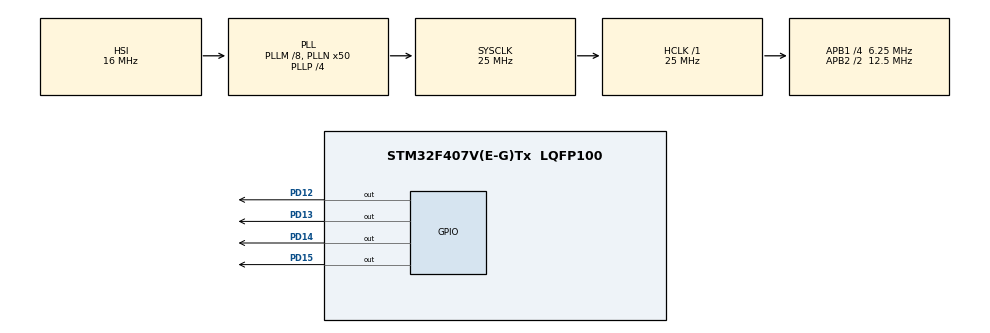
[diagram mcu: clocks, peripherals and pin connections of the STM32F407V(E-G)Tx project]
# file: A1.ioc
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FREERTOS.INCLUDE_vTaskDelayUntil=1
FREERTOS.Tasks01=defaultTask,-3,128,StartDefaultTask,Default,NULL,Dynamic,NULL,NULL
FREERTOS.configUSE_NEWLIB_REENTRANT=1
Mcu.Family=STM32F4
Mcu.Name=STM32F407V(E-G)Tx
Mcu.Package=LQFP100
NVIC.PriorityGroup=NVIC_PRIORITYGROUP_4
NVIC.TIM1_UP_TIM10_IRQn=true\:15\:0\:false\:false\:true\:false\:false\:true\:true
NVIC.TimeBase=TIM1_UP_TIM10_IRQn
NVIC.TimeBaseIP=TIM1
PD12.Signal=GPIO_Output
PD13.Signal=GPIO_Output
PD14.Signal=GPIO_Output
PD15.Signal=GPIO_Output
ProjectManager.HeapSize=0x200
ProjectManager.StackSize=0x400
ProjectManager.TargetToolchain=STM32CubeIDE
RCC.48MHZClocksFreq_Value=14285714.285714285
RCC.AHBFreq_Value=25000000
RCC.APB1CLKDivider=RCC_HCLK_DIV4
RCC.APB1Freq_Value=6250000
RCC.APB1TimFreq_Value=12500000
RCC.APB2CLKDivider=RCC_HCLK_DIV2
RCC.APB2Freq_Value=12500000
RCC.APB2TimFreq_Value=25000000
RCC.CortexFreq_Value=25000000
RCC.HCLKFreq_Value=25000000
RCC.HSE_VALUE=8000000
RCC.HSI_VALUE=16000000
RCC.LSE_VALUE=32768
RCC.PLLM=8
RCC.PLLN=50
RCC.PLLP=RCC_PLLP_DIV4
RCC.PLLQ=7
RCC.SYSCLKFreq_VALUE=25000000
RCC.SYSCLKSource=RCC_SYSCLKSOURCE_PLLCLK
RCC.VCOOutputFreq_Value=100000000
VP_FREERTOS_VS_CMSIS_V1.Mode=CMSIS_V1
VP_SYS_VS_tim1.Mode=TIM1
board=STM32F407G-DISC1

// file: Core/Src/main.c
/* USER CODE BEGIN Header */
/**
  ******************************************************************************
  * @file           : main.c
  * @brief          : Main program body
  ******************************************************************************
  * @attention
  *
  * Copyright (c) 2024 STMicroelectronics.
  * All rights reserved.
  *
  * This software is licensed under terms that can be found in the LICENSE file
  * in the root directory of this software component.
  * If no LICENSE file comes with this software, it is provided AS-IS.
  *
  ******************************************************************************
  */
/* USER CODE END Header */
#include "main.h"
#include "cmsis_os.h"

osThreadId defaultTaskHandle;

void SystemClock_Config(void);
static void MX_GPIO_Init(void);
void StartDefaultTask(void const * argument);

/* USER CODE BEGIN 0 */
void vLedTask1(void *pvParam)
{
	while(1)
	{
		HAL_GPIO_TogglePin(GPIOD, GPIO_PIN_12);
		vTaskDelay(1000 / portTICK_RATE_MS);
	}
	vTaskDelete(NULL);
}

void vLedTask2(void *pvParam)
{
	while(1)
	{
		HAL_GPIO_TogglePin(GPIOD, GPIO_PIN_13);
		vTaskDelay(2000 / portTICK_RATE_MS);
	}
	vTaskDelete(NULL);
}

void vLedTask3(void *pvParam)
{
	while(1)
	{
		HAL_GPIO_TogglePin(GPIOD, GPIO_PIN_14);
		vTaskDelay(3000 / portTICK_RATE_MS);
	}
	vTaskDelete(NULL);
}

void vLedTask4(void *pvParam)
{
	while(1)
	{
		HAL_GPIO_TogglePin(GPIOD, GPIO_PIN_15);
		vTaskDelay(4000 / portTICK_RATE_MS);
	}
	vTaskDelete(NULL);
}
/* USER CODE END 0 */

int main(void)
{

  /* MCU Configuration--------------------------------------------------------*/

  /* Reset of all peripherals, Initializes the Flash interface and the Systick. */
  HAL_Init();

  /* Configure the system clock */
  SystemClock_Config();

  /* Initialize all configured peripherals */
  MX_GPIO_Init();

  /* Create the thread(s) */
  /* definition and creation of defaultTask */
  osThreadDef(defaultTask, StartDefaultTask, osPriorityIdle, 0, 128);
  defaultTaskHandle = osThreadCreate(osThread(defaultTask), NULL);

  /* USER CODE BEGIN RTOS_THREADS */
  /* add threads, ... */
  xTaskCreate(vLedTask1, "LED Toggle", configMINIMAL_STACK_SIZE, NULL, 2, NULL);
  xTaskCreate(vLedTask2, "LED Toggle", configMINIMAL_STACK_SIZE, NULL, 2, NULL);
  xTaskCreate(vLedTask3, "LED Toggle", configMINIMAL_STACK_SIZE, NULL, 2, NULL);
  xTaskCreate(vLedTask4, "LED Toggle", configMINIMAL_STACK_SIZE, NULL, 2, NULL);

  	vTaskStartScheduler();
  /* USER CODE END RTOS_THREADS */

  /* Start scheduler */
  osKernelStart();

  /* We should never get here as control is now taken by the scheduler */

  /* Infinite loop */
  while (1)
  {

  }
}

void SystemClock_Config(void)
{
  RCC_OscInitTypeDef RCC_OscInitStruct = {0};
  RCC_ClkInitTypeDef RCC_ClkInitStruct = {0};

  /** Configure the main internal regulator output voltage
  */
  __HAL_RCC_PWR_CLK_ENABLE();
  __HAL_PWR_VOLTAGESCALING_CONFIG(PWR_REGULATOR_VOLTAGE_SCALE1);

  /** Initializes the RCC Oscillators according to the specified parameters
  * in the RCC_OscInitTypeDef structure.
  */
  RCC_OscInitStruct.OscillatorType = RCC_OSCILLATORTYPE_HSI;
  RCC_OscInitStruct.HSIState = RCC_HSI_ON;
  RCC_OscInitStruct.HSICalibrationValue = RCC_HSICALIBRATION_DEFAULT;
  RCC_OscInitStruct.PLL.PLLState = RCC_PLL_ON;
  RCC_OscInitStruct.PLL.PLLSource = RCC_PLLSOURCE_HSI;
  RCC_OscInitStruct.PLL.PLLM = 8;
  RCC_OscInitStruct.PLL.PLLN = 50;
  RCC_OscInitStruct.PLL.PLLP = RCC_PLLP_DIV4;
  RCC_OscInitStruct.PLL.PLLQ = 7;
  if (HAL_RCC_OscConfig(&RCC_OscInitStruct) != HAL_OK)
  {
    Error_Handler();
  }

  /** Initializes the CPU, AHB and APB buses clocks
  */
  RCC_ClkInitStruct.ClockType = RCC_CLOCKTYPE_HCLK|RCC_CLOCKTYPE_SYSCLK
                              |RCC_CLOCKTYPE_PCLK1|RCC_CLOCKTYPE_PCLK2;
  RCC_ClkInitStruct.SYSCLKSource = RCC_SYSCLKSOURCE_PLLCLK;
  RCC_ClkInitStruct.AHBCLKDivider = RCC_SYSCLK_DIV1;
  RCC_ClkInitStruct.APB1CLKDivider = RCC_HCLK_DIV4;
  RCC_ClkInitStruct.APB2CLKDivider = RCC_HCLK_DIV2;

  if (HAL_RCC_ClockConfig(&RCC_ClkInitStruct, FLASH_LATENCY_0) != HAL_OK)
  {
    Error_Handler();
  }
}

static void MX_GPIO_Init(void)
{
  GPIO_InitTypeDef GPIO_InitStruct = {0};

  /* GPIO Ports Clock Enable */
  __HAL_RCC_GPIOD_CLK_ENABLE();

  /*Configure GPIO pin Output Level */
  HAL_GPIO_WritePin(GPIOD, GPIO_PIN_12|GPIO_PIN_13|GPIO_PIN_14|GPIO_PIN_15, GPIO_PIN_RESET);

  /*Configure GPIO pins : PD12 PD13 PD14 PD15 */
  GPIO_InitStruct.Pin = GPIO_PIN_12|GPIO_PIN_13|GPIO_PIN_14|GPIO_PIN_15;
  GPIO_InitStruct.Mode = GPIO_MODE_OUTPUT_PP;
  GPIO_InitStruct.Pull = GPIO_NOPULL;
  GPIO_InitStruct.Speed = GPIO_SPEED_FREQ_LOW;
  HAL_GPIO_Init(GPIOD, &GPIO_InitStruct);

}

void StartDefaultTask(void const * argument)
{
  for(;;)
  {
    osDelay(1);
  }
}

void HAL_TIM_PeriodElapsedCallback(TIM_HandleTypeDef *htim)
{
  if (htim->Instance == TIM1) {
    HAL_IncTick();
  }
}

void Error_Handler(void)
{
  __disable_irq();
  while (1)
  {
  }
}
